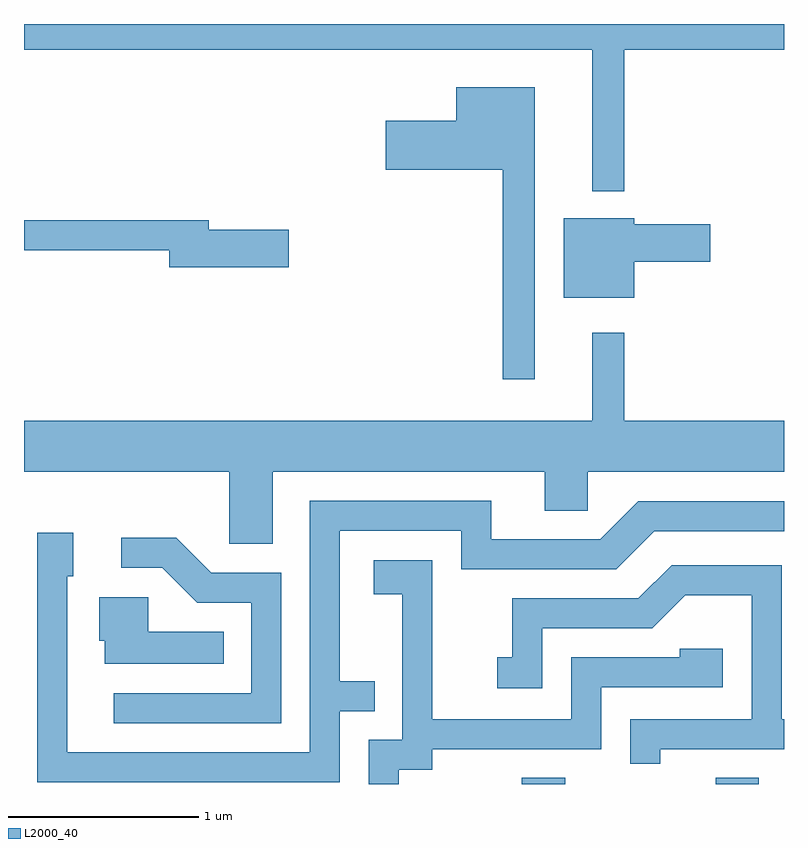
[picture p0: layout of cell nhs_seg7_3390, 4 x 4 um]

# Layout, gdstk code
import gdstk
lib = gdstk.Library(unit=1e-6, precision=1e-09)
def R(c, l, rs):  # rectangles x0, y0, x1, y1
    for r in rs: c.add(gdstk.rectangle(r[:2], r[2:], *l))
def P(c, l, *ps):  # polygons
    for p in ps: c.add(gdstk.Polygon(p, *l))
L2000_40 = (2000, 40)

nhs_seg7_3390 = lib.new_cell('nhs_seg7_3390')
R(nhs_seg7_3390, L2000_40, [(292.231,1688.252,292.459,1688.284), (293.251,1688.252,293.479,1688.284)])
P(nhs_seg7_3390, L2000_40, [(292.769,1692.116),(293.611,1692.116),(293.611,1692.252),(289.611,1692.252),(289.611,1692.116),(292.601,1692.116),(292.601,1691.373),(292.769,1691.373)],
  [(292.299,1691.919),(291.886,1691.919),(291.886,1691.744),(291.516,1691.744),(291.516,1691.486),(292.131,1691.486),(292.131,1690.383),(292.299,1690.383)],
  [(292.824,1691.001),(293.224,1691.001),(293.224,1691.199),(292.824,1691.199),(292.824,1691.229),(292.451,1691.229),(292.451,1690.811),(292.824,1690.811)],
  [(291.004,1691.169),(290.584,1691.169),(290.584,1691.219),(289.611,1691.219),(289.611,1691.061),(290.376,1691.061),(290.376,1690.971),(291.004,1690.971)],
  [(290.919,1689.896),(292.351,1689.896),(292.351,1689.691),(292.579,1689.691),(292.579,1689.896),(293.611,1689.896),(293.611,1690.164),(292.769,1690.164),(292.769,1690.628),(292.601,1690.628),(292.601,1690.164),(289.611,1690.164),(289.611,1689.896),(290.691,1689.896),(290.691,1689.516),(290.919,1689.516)],
  [(291.274,1688.636),(291.458,1688.636),(291.458,1688.794),(291.274,1688.794),(291.274,1689.586),(291.911,1689.586),(291.911,1689.381),(292.727,1689.381),(292.927,1689.581),(293.611,1689.581),(293.611,1689.739),(292.844,1689.739),(292.644,1689.539),(292.069,1689.539),(292.069,1689.744),(291.116,1689.744),(291.116,1688.419),(289.839,1688.419),(289.839,1689.346),(289.869,1689.346),(289.869,1689.574),(289.681,1689.574),(289.681,1688.261),(291.274,1688.261)],
  [(290.964,1689.364),(290.597,1689.364),(290.412,1689.549),(290.123,1689.549),(290.123,1689.391),(290.339,1689.391),(290.524,1689.206),(290.806,1689.206),(290.806,1688.729),(290.083,1688.729),(290.083,1688.571),(290.964,1688.571)],
  [(291.584,1688.326),(291.759,1688.326),(291.759,1688.436),(292.649,1688.436),(292.649,1688.761),(293.289,1688.761),(293.289,1688.964),(293.061,1688.964),(293.061,1688.919),(292.491,1688.919),(292.491,1688.594),(291.759,1688.594),(291.759,1689.429),(291.451,1689.429),(291.451,1689.251),(291.601,1689.251),(291.601,1688.484),(291.426,1688.484),(291.426,1688.252),(291.584,1688.252)],
  [(292.959,1688.436),(293.611,1688.436),(293.611,1688.594),(293.599,1688.594),(293.599,1689.404),(293.019,1689.404),(292.844,1689.229),(292.181,1689.229),(292.181,1688.919),(292.103,1688.919),(292.103,1688.756),(292.339,1688.756),(292.339,1689.071),(292.917,1689.071),(293.092,1689.246),(293.441,1689.246),(293.441,1688.594),(292.801,1688.594),(292.801,1688.358),(292.959,1688.358)],
  [(290.663,1689.054),(290.264,1689.054),(290.264,1689.234),(290.006,1689.234),(290.006,1689.006),(290.036,1689.006),(290.036,1688.886),(290.663,1688.886)])

lib.write_gds('nhs_seg7_3390.gds')
